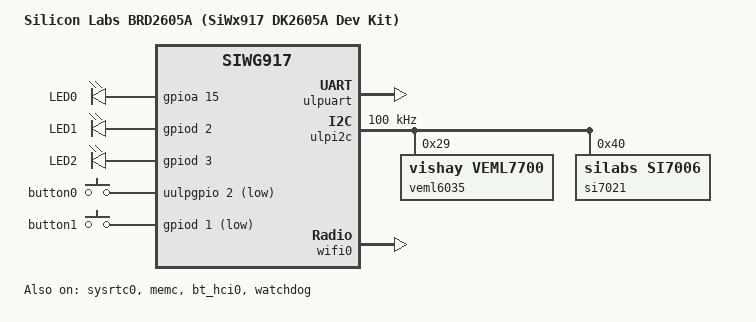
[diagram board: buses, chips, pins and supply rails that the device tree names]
/*
 * Copyright (c) 2025 Silicon Laboratories Inc.
 * SPDX-License-Identifier: Apache-2.0
 */

/dts-v1/;
#include <silabs/siwg917m111mgtba.dtsi>
#include <zephyr/dt-bindings/gpio/gpio.h>
#include <zephyr/dt-bindings/input/input-event-codes.h>
#include <zephyr/dt-bindings/pinctrl/silabs/siwx91x-pinctrl.h>
#include <freq.h>
#include "siwx917_dk2605a-pinctrl.dtsi"

/ {
	model = "Silicon Labs BRD2605A (SiWx917 DK2605A Dev Kit)";
	compatible = "silabs,siwx917_dk2605a", "silabs,siwg917";

	chosen {
		zephyr,bt-hci = &bt_hci0;
		zephyr,code-partition = &code_partition;
		zephyr,console = &ulpuart;
		zephyr,shell-uart = &ulpuart;
		zephyr,sram = &sram0;
		zephyr,uart-pipe = &ulpuart;
	};

	aliases {
		dht0 = &si7021;
		led0 = &led0;
		led1 = &led1;
		led2 = &led2;
		sw0 = &button0;
		sw1 = &button1;
	};

	leds {
		compatible = "gpio-leds";

		led0: led_0 {
			gpios = <&gpioa 15 GPIO_ACTIVE_HIGH>;
			label = "LED0";
		};

		led1: led_1 {
			gpios = <&gpiod 2 GPIO_ACTIVE_HIGH>;
			label = "LED1";
		};

		led2: led_2 {
			gpios = <&gpiod 3 GPIO_ACTIVE_HIGH>;
			label = "LED2";
		};
	};

	buttons {
		compatible = "gpio-keys";

		button0: button_0 {
			gpios = <&uulpgpio 2 GPIO_ACTIVE_LOW>;
			zephyr,code = <INPUT_KEY_0>;
		};

		button1: button_1 {
			gpios = <&gpiod 1 GPIO_ACTIVE_LOW>;
			zephyr,code = <INPUT_KEY_1>;
		};
	};
};

&flash0 {
	partitions {
		compatible = "fixed-partitions";
		#address-cells = <1>;
		#size-cells = <1>;

		code_partition: partition@202000 {
			reg = <0x00202000 DT_SIZE_K(2008)>;
			label = "code_partition";
		};

		storage_partition: partition@3f8000 {
			reg = <0x003f8000 DT_SIZE_K(32)>;
			label = "storage";
		};
	};
};

&ulpuart {
	pinctrl-0 = <&ulpuart_default>;
	pinctrl-names = "default";
	status = "okay";
};

/* zephyr_i2c label is here to allow the use of Qwiic connectors as board shield */
zephyr_i2c: &ulpi2c {
	clock-frequency = <DT_FREQ_K(100)>;
	pinctrl-0 = <&ulpi2c_default>;
	pinctrl-names = "default";
	status = "okay";

	veml6035: veml6035@29 {
		compatible = "vishay,veml7700";
		reg = <0x29>;
	};

	si7021: si7021@40 {
		compatible = "silabs,si7006";
		reg = <0x40>;
	};
};

&sysrtc0 {
	status = "okay";
};

&memc {
	clocks = <&clock0 SIWX91X_CLK_QSPI>;
	pinctrl-0 = <&psram_default>;
	pinctrl-names = "default";
	device-id = [ 0d 5d 00 00 00 00 00 00 ];
	fast-freq = <DT_FREQ_M(144)>;
	normal-freq = <DT_FREQ_M(33)>;
	status = "okay";

	psram: psram@a000000 {
		compatible = "zephyr,memory-region", "mmio-sram";
		reg = <0xa000000 DT_SIZE_M(8)>;
		zephyr,memory-attr = <( DT_MEM_ARM(ATTR_MPU_RAM) )>;
		zephyr,memory-region = "psram";
	};
};

&bt_hci0 {
	status = "okay";
};

&wifi0 {
	status = "okay";
};

&watchdog {
	status = "okay";
};

/* TODO: Add ICMCM-40627 with SSI */

/* TODO: Add ICS-43434 with I2S */
